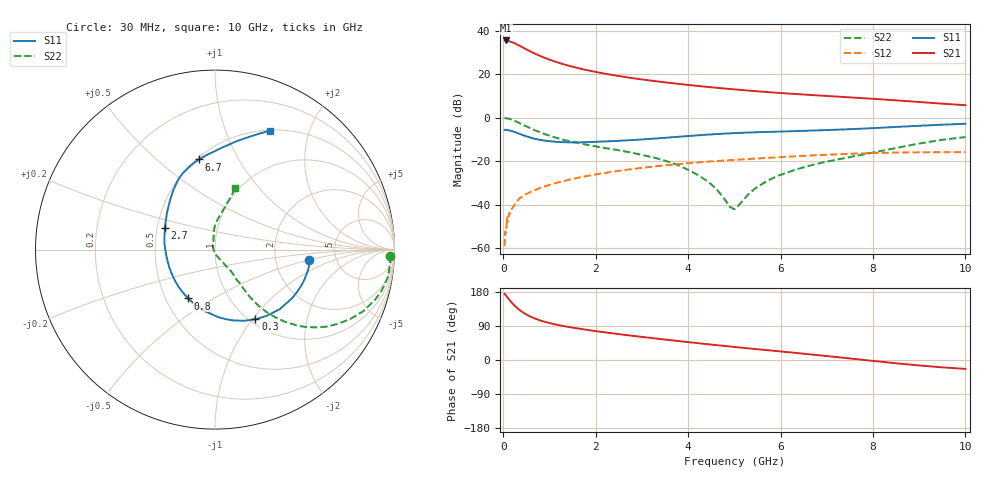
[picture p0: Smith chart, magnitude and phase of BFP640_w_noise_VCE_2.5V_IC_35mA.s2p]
! Infineon Technologies  Discrete & RF Semiconductors
! BFP640
! VCE =  2.5 V,  IC =  35 mA
! Common Emitter S-Parameters:  Apr 2013
# GHz  S  MA  R  50
!  f  S11  S21  S12  S22
! GHz  MAG  ANG  MAG  ANG  MAG  ANG  MAG  ANG
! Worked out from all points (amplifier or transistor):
!   99 points, 30 MHz to 10 GHz, reference 50 ohm
!   highest |S21| = 35.7 dB at 50 MHz (marker M1)
!   |S21| within 3 dB of that: start of sweep to 403.5 MHz
!   unconditionally stable (mu >= 1): 2.064 GHz to end of sweep
!   at 350 MHz: K = 0.41, MSG = 35.2 dB, |S12| = -37.2 dB
!   at 3.5 GHz: K = 1.05, MAG = 17.7 dB, |S12| = -21.9 dB
!   at 10 GHz: K = 1.06, MAG = 9.3 dB, |S12| = -15.8 dB
!   lowest NFmin = 1.16 dB at 450 MHz
!   S11 on the Smith chart (normalised r, x): 30 MHz: 3.13, -0.52; 300 MHz: 1.06, -1.03; 800 MHz: 0.65, -0.39; 2.7 GHz: 0.55, +0.14; 6.7 GHz: 0.51, +0.70; 10 GHz: 0.51, +1.44
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0.03  0.5267 -6.5  60.49 174.9  0.0011 109.3  0.9735 -2.1
0.05  0.5318 -11.1  60.81 172.0  0.0024 70.5  0.9781 -5.1
0.08  0.5261 -17.8  60.36 167.0  0.0049 87.3  0.9754 -8.9
0.15  0.5066 -32.8  57.55 156.4  0.007 77.2  0.9346 -17.4
0.2  0.4903 -42.6  54.97 149.5  0.0083 77.2  0.8951 -22.5
0.25  0.4691 -51.6  52.23 143.1  0.01 71.9  0.8489 -27.0
0.3  0.4489 -59.9  49.12 137.5  0.0119 70.4  0.8019 -31.0
0.4  0.4089 -75.0  43.25 127.8  0.015 68.4  0.7119 -37.5
0.5  0.3755 -87.7  37.95 120.2  0.0175 66.2  0.6342 -42.2
0.6  0.3473 -99.4  33.49 113.9  0.0198 65.4  0.5666 -45.6
0.7  0.3259 -109.6  29.77 108.8  0.022 64.0  0.51 -48.1
0.8  0.3105 -118.7  26.68 104.5  0.0242 63.5  0.463 -50.0
1  0.2899 -134.6  21.97 97.6  0.0284 62.9  0.3877 -52.4
1.2  0.2779 -147.7  18.6 92.1  0.0327 61.5  0.3345 -53.5
1.7  0.2728 -172.3  13.38 81.6  0.0433 59.2  0.2525 -53.6
2.1  0.2834 173.6  10.91 74.6  0.0519 56.7  0.2102 -54.3
2.7  0.3035 156.8  8.528 65.4  0.0643 52.2  0.1633 -53.4
3.4  0.341 141.2  6.781 55.4  0.0784 46.6  0.1103 -56.1
5.1  0.4489 115.7  4.437 33.2  0.109 31.6  0.0098 158.4
6.7  0.5099 100.1  3.344 14.1  0.1361 17.4  0.0824 94.9
8.5  0.6166 78.6  2.531 -8.7  0.158 -0.9  0.2016 80.7
10  0.7287 65.3  1.956 -23.5  0.162 -13.0  0.36 72.0
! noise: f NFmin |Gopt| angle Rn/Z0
0.45  1.16  0.22  -170  0.04
0.9  1.17  0.23  -159  0.07
1.5  1.18  0.26  -144  0.08
1.9  1.18  0.27  224  0.1
2.4  1.23  0.29  -122  0.11
3.5  1.36  0.34  -105  0.15
5.5  1.57  0.38  -91  0.23
10  2.02  0.62  -50  0.64
